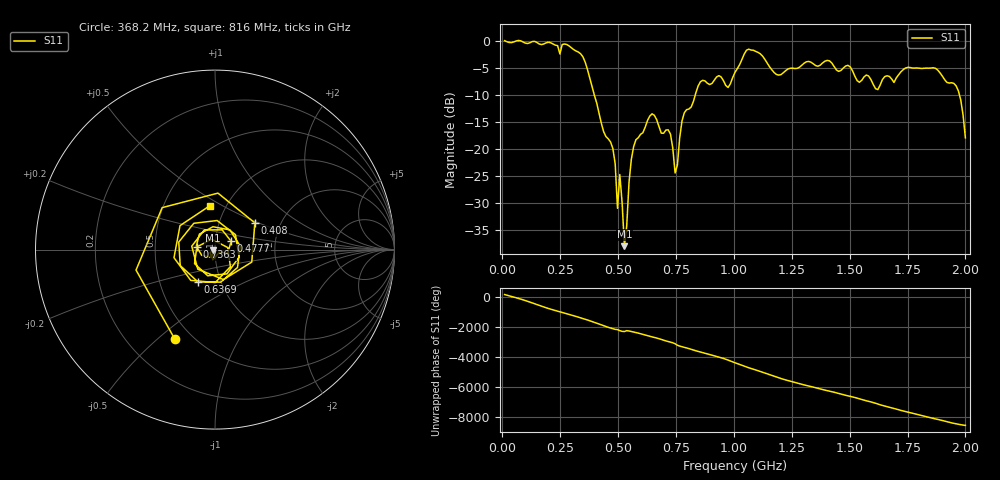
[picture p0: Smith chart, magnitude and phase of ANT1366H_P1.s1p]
!Created with skrf (http://scikit-rf.org).
# Hz S RI R 50.0
!freq ReS11 ImS11
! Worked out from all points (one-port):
!   201 points, 10 MHz to 2 GHz, reference 50 ohm
!   lowest |S11| = -38.0 dB at 527.4 MHz (marker M1), VSWR 1.03, Z = 48.8 - j0.439 ohm
!   |S11| at or under -10 dB: 397.9 MHz to 832.9 MHz (435 MHz wide, 70.7 % of centre); 1.975 GHz to end of sweep
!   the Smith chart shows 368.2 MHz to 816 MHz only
!   S11 on the Smith chart (normalised r, x): 368.2 MHz: 0.40, -0.57; 408 MHz: 1.48, +0.47; 477.6 MHz: 1.19, +0.11; 636.9 MHz: 0.78, -0.29; 736.4 MHz: 0.82, +0.02; 816 MHz: 0.84, +0.44
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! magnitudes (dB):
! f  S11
! 10 MHz  0.1
! 258.8 MHz  -0.6
! 368.2 MHz  -5.3
! 408 MHz  -11.5
! 477.6 MHz  -19.9
! 487.6 MHz  -22.7
! 497.6 MHz  -31.0
! 507.5 MHz  -24.7
! 527.4 MHz  -38.0
! 547.3 MHz  -26.1
! 567.2 MHz  -19.5
! 636.9 MHz  -13.8
! 736.4 MHz  -19.8
! 746.3 MHz  -24.4
! 756.2 MHz  -22.9
! 776.1 MHz  -14.7
! 816 MHz  -12.2
! 855.8 MHz  -7.5
! 975.1 MHz  -8.5
! 1.005 GHz  -5.7
! 1.065 GHz  -1.4
! 1.184 GHz  -6.1
! 1.254 GHz  -5.0
! 1.502 GHz  -4.7
! 1.622 GHz  -8.9
! 1.751 GHz  -4.8
! 1.96 GHz  -8.3
! 2 GHz  -17.9
